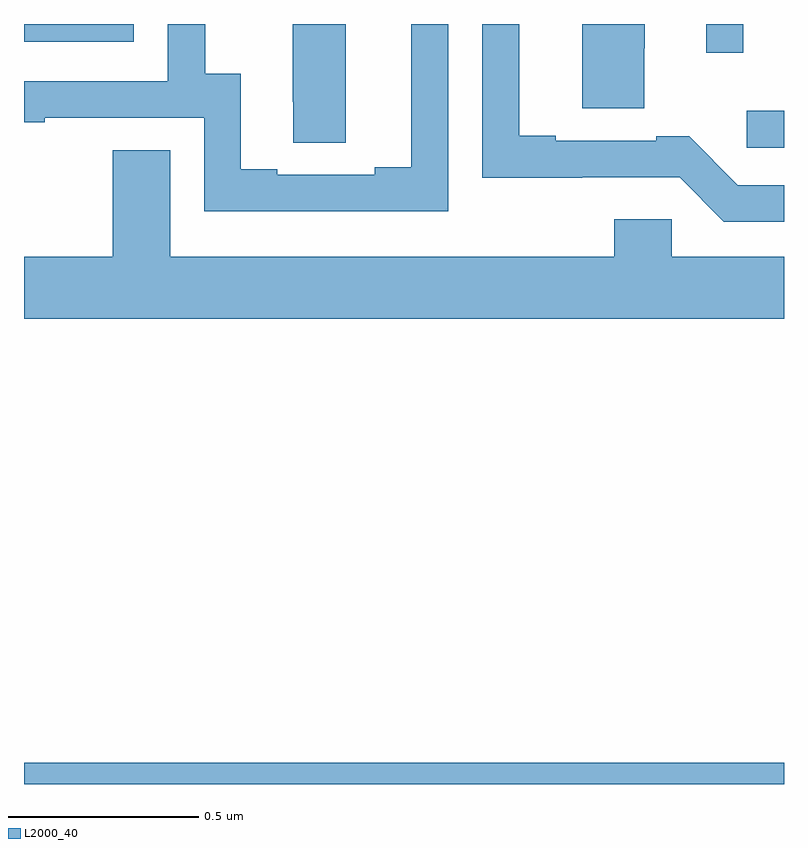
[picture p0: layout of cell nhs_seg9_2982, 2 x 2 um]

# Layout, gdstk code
import gdstk
lib = gdstk.Library(unit=1e-6, precision=1e-09)
def R(c, l, rs):  # rectangles x0, y0, x1, y1
    for r in rs: c.add(gdstk.rectangle(r[:2], r[2:], *l))
def P(c, l, *ps):  # polygons
    for p in ps: c.add(gdstk.Polygon(p, *l))
L2000_40 = (2000, 40)

nhs_seg9_2982 = lib.new_cell('nhs_seg9_2982')
R(nhs_seg9_2982, L2000_40, [(147,1224.5,149,1224.556), (148.902,1226.175,149,1226.272), (148.796,1226.424,148.893,1226.5), (147,1226.453,147.289,1226.5)])
P(nhs_seg9_2982, L2000_40, [(149,1226.076),(148.878,1226.076),(148.75,1226.204),(148.664,1226.204),(148.664,1226.193),(148.399,1226.193),(148.399,1226.206),(148.303,1226.206),(148.303,1226.5),(148.206,1226.5),(148.206,1226.096),(148.469,1226.096),(148.469,1226.097),(148.725,1226.097),(148.842,1225.98),(149,1225.98)],
  [(148.632,1226.436),(148.633,1226.436),(148.633,1226.5),(148.469,1226.5),(148.469,1226.278),(148.632,1226.278)],
  [(147.847,1226.5),(147.707,1226.5),(147.707,1226.296),(147.708,1226.296),(147.708,1226.188),(147.847,1226.188)],
  [(148.116,1226.5),(148.019,1226.5),(148.019,1226.123),(147.923,1226.123),(147.923,1226.103),(147.667,1226.103),(147.667,1226.118),(147.571,1226.118),(147.571,1226.369),(147.477,1226.369),(147.477,1226.5),(147.378,1226.5),(147.378,1226.349),(147,1226.349),(147,1226.241),(147.055,1226.241),(147.055,1226.253),(147.474,1226.253),(147.474,1226.007),(148.116,1226.007)],
  [(149,1225.888),(148.704,1225.888),(148.704,1225.986),(148.553,1225.986),(148.553,1225.888),(147.385,1225.888),(147.385,1226.168),(147.233,1226.168),(147.233,1225.888),(147,1225.888),(147,1225.724),(149,1225.724)])

lib.write_gds('nhs_seg9_2982.gds')
